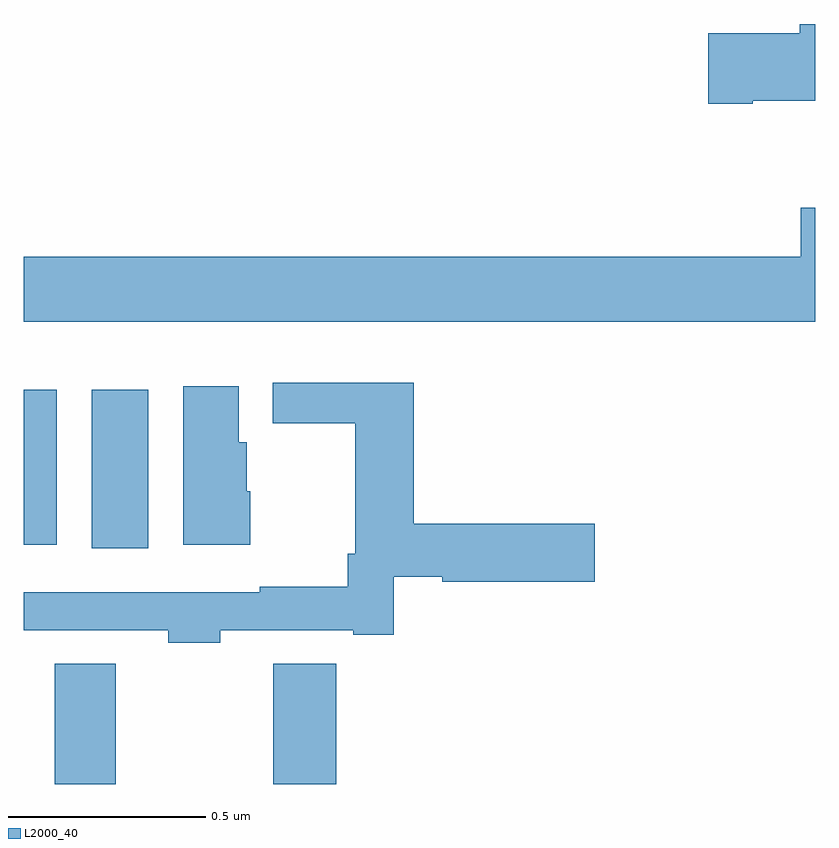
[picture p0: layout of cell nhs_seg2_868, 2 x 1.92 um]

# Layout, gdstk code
import gdstk
lib = gdstk.Library(unit=1e-6, precision=1e-09)
def R(c, l, rs):  # rectangles x0, y0, x1, y1
    for r in rs: c.add(gdstk.rectangle(r[:2], r[2:], *l))
def P(c, l, *ps):  # polygons
    for p in ps: c.add(gdstk.Polygon(p, *l))
L2000_40 = (2000, 40)

nhs_seg2_868 = lib.new_cell('nhs_seg2_868')
R(nhs_seg2_868, L2000_40, [(121.078,647.8,121.232,648.104), (121.63,647.8,121.79,648.104), (121.172,648.396,121.315,648.796), (121,648.404,121.084,648.796)])
P(nhs_seg2_868, L2000_40, [(122.842,649.526),(123,649.526),(123,649.72),(122.96,649.72),(122.96,649.697),(122.73,649.697),(122.73,649.519),(122.842,649.519)],
  [(123,649.256),(122.963,649.256),(122.963,649.132),(121,649.132),(121,648.968),(123,648.968)],
  [(121.497,648.189),(121.832,648.189),(121.832,648.177),(121.935,648.177),(121.935,648.323),(122.058,648.323),(122.058,648.311),(122.443,648.311),(122.443,648.458),(121.985,648.458),(121.985,648.814),(121.629,648.814),(121.629,648.712),(121.838,648.712),(121.838,648.382),(121.819,648.382),(121.819,648.298),(121.597,648.298),(121.597,648.285),(121,648.285),(121,648.189),(121.365,648.189),(121.365,648.157),(121.497,648.157)],
  [(121.573,648.54),(121.564,648.54),(121.564,648.663),(121.543,648.663),(121.543,648.805),(121.403,648.805),(121.403,648.404),(121.573,648.404)])

lib.write_gds('nhs_seg2_868.gds')
